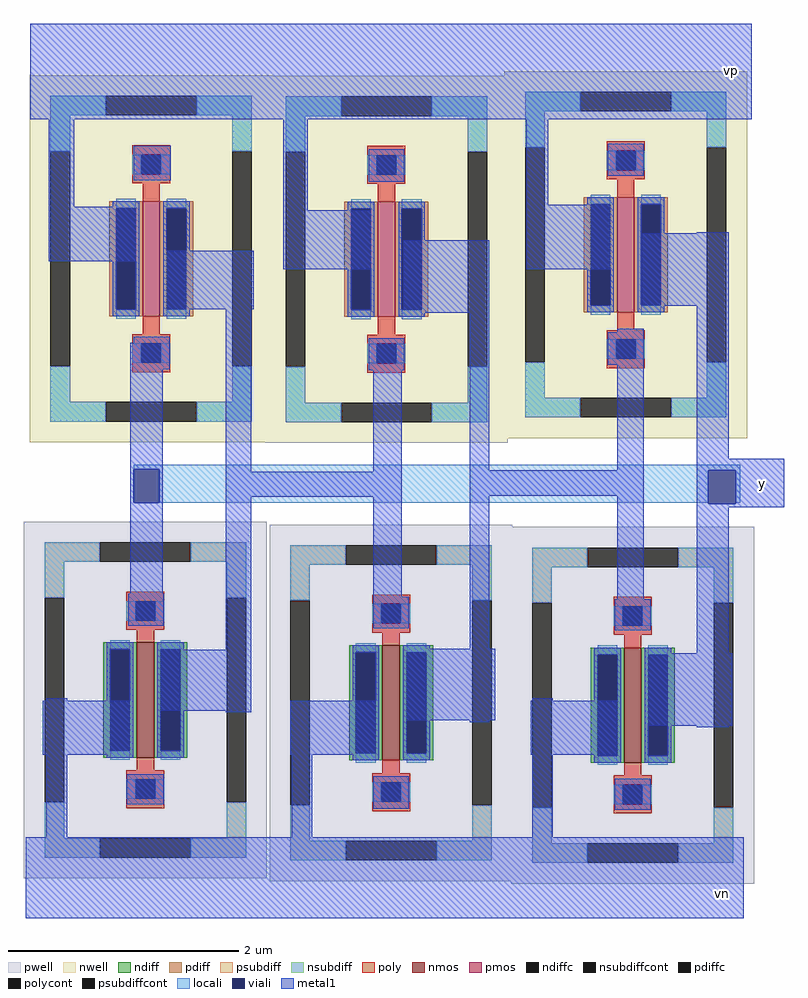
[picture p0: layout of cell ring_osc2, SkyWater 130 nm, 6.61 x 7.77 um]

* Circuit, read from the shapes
.subckt ring_osc2 vp y vn
XM1 n1 y vn VSUBS sky130_fd_pr__nfet_01v8 w=1 l=0.15
XM2 n2 n1 vn VSUBS sky130_fd_pr__nfet_01v8 w=1 l=0.15
XM3 y n2 vn VSUBS sky130_fd_pr__nfet_01v8 w=1 l=0.15
XM4 n1 y vp n3 sky130_fd_pr__pfet_01v8 w=1 l=0.15
XM5 n2 n1 vp n3 sky130_fd_pr__pfet_01v8 w=1 l=0.15
XM6 y n2 vp n3 sky130_fd_pr__pfet_01v8 w=1 l=0.15
.ends

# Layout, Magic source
magic
tech sky130A
magscale 1 2
<< locali >>
rect 128 500 1182 508
rect 172 498 1182 500
rect 172 442 1126 498
rect 1174 442 1182 498
<< viali >>
rect 128 442 172 500
rect 1126 440 1174 498
<< metal1 >>
rect -52 1108 1202 1274
rect -20 956 24 1108
rect 128 1002 192 1062
rect -20 862 134 956
rect 388 950 430 1108
rect 536 1000 598 1056
rect 810 960 848 1108
rect 952 1010 1014 1066
rect 182 778 336 880
rect 388 848 540 950
rect 128 720 190 730
rect 122 674 190 720
rect 122 500 178 674
rect 122 442 128 500
rect 172 442 178 500
rect 122 284 178 442
rect 288 496 332 778
rect 596 772 746 898
rect 810 848 958 960
rect 1106 910 1162 912
rect 1012 784 1162 910
rect 536 672 598 728
rect 544 496 594 672
rect 288 452 594 496
rect 118 228 180 284
rect 288 186 332 452
rect 544 278 594 452
rect 712 498 746 772
rect 968 738 1014 744
rect 952 682 1014 738
rect 968 498 1014 682
rect 712 454 1014 498
rect 544 224 606 278
rect 712 188 746 454
rect 968 274 1014 454
rect 1106 518 1162 784
rect 1106 498 1258 518
rect 1106 440 1126 498
rect 1174 440 1258 498
rect 1106 434 1258 440
rect 964 220 1026 274
rect -24 98 12 102
rect -30 4 122 98
rect 172 80 332 186
rect 288 78 332 80
rect 400 4 552 98
rect 598 64 756 188
rect 1106 180 1162 434
rect 820 98 856 102
rect 712 60 746 64
rect 818 4 970 98
rect 1018 54 1168 180
rect 1106 52 1162 54
rect -24 -140 12 4
rect 116 -82 180 -30
rect 402 -140 438 4
rect 544 -90 606 -34
rect 820 -140 856 4
rect 964 -92 1026 -38
rect -60 -280 1188 -140
use sky130_fd_pr__pfet_01v8_XGS3BL  XM1
transform 1 0 158 0 1 866
box -211 -319 211 319
use sky130_fd_pr__pfet_01v8_XGS3BL  XM2
transform 1 0 567 0 1 865
box -211 -319 211 319
use sky130_fd_pr__pfet_01v8_XGS3BL  XM3
transform 1 0 983 0 1 873
box -211 -319 211 319
use sky130_fd_pr__nfet_01v8_648S5X  XM4
transform 1 0 575 0 1 94
box -211 -310 211 310
use sky130_fd_pr__nfet_01v8_648S5X  XM5
transform 1 0 148 0 1 99
box -211 -310 211 310
use sky130_fd_pr__nfet_01v8_648S5X  XM6
transform 1 0 995 0 1 90
box -211 -310 211 310
<< labels >>
rlabel metal1 1134 1114 1200 1272 3 vp
port 1 e
rlabel metal1 1184 434 1258 518 3 y
port 2 e
rlabel metal1 1114 -280 1188 -196 3 vn
port 3 e
<< end >>

# cell sky130_fd_pr__pfet_01v8_XGS3BL: kit device sky130_fd_pr__pfet_01v8, w 1.0 l 0.15 m 1 nf 1 diffcov 100 polycov 100 guard 1 glc 1 grc 1 gtc 1 gbc 1 tbcov 100 rlcov 100 topc 1 botc 1 poverlap 0 doverlap 1 lmin 0.15 wmin 0.42 compatible {sky130_fd_pr__pfet_01v8 sky130_fd_pr__pfet_01v8_lvt sky130_fd_pr__pfet_01v8_hvt sky130_fd_pr__pfet_g5v0d10v5} full_metal 1 viasrc 100 viadrn 100 viagate 100 viagb 0 viagr 0 viagl 0 viagt 0

# cell sky130_fd_pr__nfet_01v8_648S5X: kit device sky130_fd_pr__nfet_01v8, w 1.0 l 0.15 m 1 nf 1 diffcov 100 polycov 100 guard 1 glc 1 grc 1 gtc 1 gbc 1 tbcov 100 rlcov 100 topc 1 botc 1 poverlap 0 doverlap 1 lmin 0.15 wmin 0.42 compatible {sky130_fd_pr__nfet_01v8 sky130_fd_pr__nfet_01v8_lvt sky130_fd_bs_flash__special_sonosfet_star sky130_fd_pr__nfet_g5v0d10v5 sky130_fd_pr__nfet_05v0_nvt sky130_fd_pr__nfet_03v3_nvt} full_metal 1 viasrc 100 viadrn 100 viagate 100 viagb 0 viagr 0 viagl 0 viagt 0
